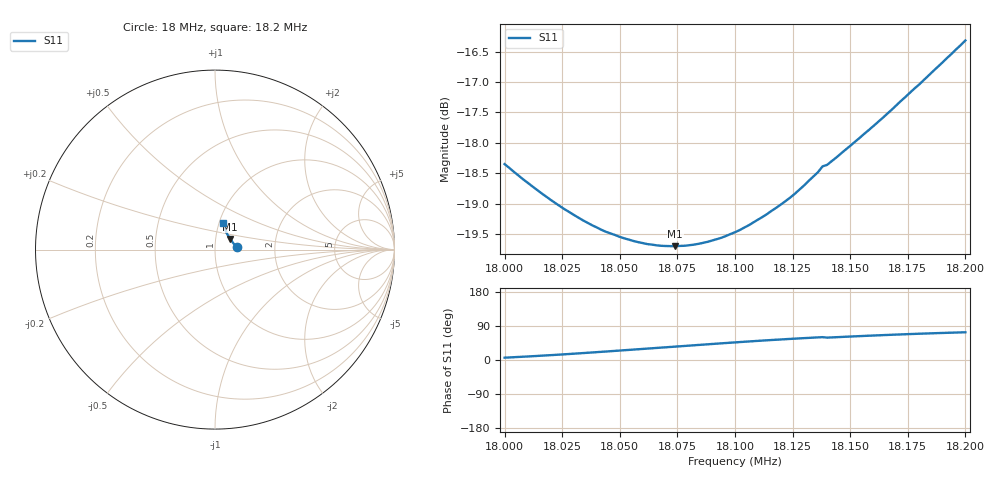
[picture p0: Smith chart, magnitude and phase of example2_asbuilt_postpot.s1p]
!File created by NanoVNA-F
# HZ S RI R 50
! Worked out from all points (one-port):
!   101 points, 18 MHz to 18.2 MHz, reference 50 ohm
!   lowest |S11| = -19.7 dB at 18.074 MHz (marker M1), VSWR 1.23, Z = 58.8 + j7.1 ohm
!   |S11| at or under -10 dB: start of sweep to end of sweep
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1.8e7  0.1202 0.0129
1.8008e7  0.1162 0.0177
1.8014e7  0.1132 0.0213
1.8026e7  0.1072 0.0288
1.8038e7  0.1013 0.0366
1.8044e7  0.0984 0.0405
1.805e7  0.0955 0.0444
1.8056e7  0.0927 0.0483
1.8062e7  0.0899 0.0521
1.8068e7  0.0872 0.056
1.8074e7  0.0845 0.0598
1.8076e7  0.0836 0.0611
1.8082e7  0.081 0.065
1.8088e7  0.0783 0.069
1.8094e7  0.0758 0.0729
1.81e7  0.0732 0.0771
1.8106e7  0.0708 0.0812
1.8114e7  0.0677 0.0868
1.812e7  0.0655 0.0909
1.8126e7  0.0633 0.0952
1.8136e7  0.0601 0.1028
1.8138e7  0.0597 0.1046
1.814e7  0.0622 0.1035
1.815e7  0.059 0.1104
1.8164e7  0.0546 0.1201
1.8176e7  0.0509 0.1288
1.818e7  0.0497 0.1316
1.82e7  0.0443 0.1462
